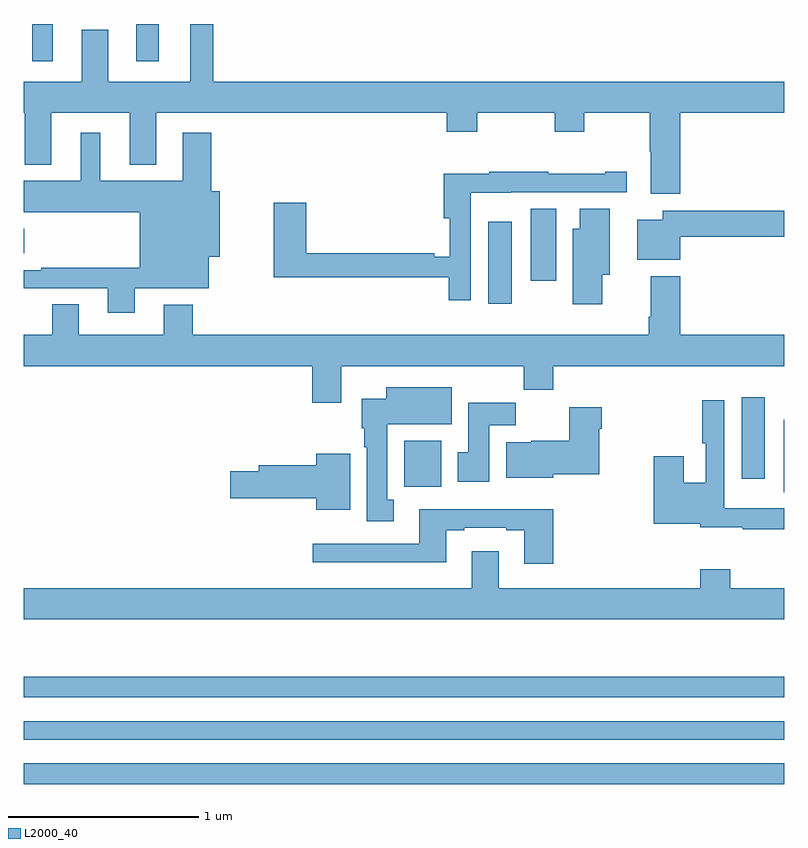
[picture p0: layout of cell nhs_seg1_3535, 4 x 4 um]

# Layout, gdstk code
import gdstk
lib = gdstk.Library(unit=1e-6, precision=1e-09)
def R(c, l, rs):  # rectangles x0, y0, x1, y1
    for r in rs: c.add(gdstk.rectangle(r[:2], r[2:], *l))
def P(c, l, *ps):  # polygons
    for p in ps: c.add(gdstk.Polygon(p, *l))
L2000_40 = (2000, 40)

nhs_seg1_3535 = lib.new_cell('nhs_seg1_3535')
R(nhs_seg1_3535, L2000_40, [(303,548.202,307,548.31), (303,548.436,307,548.532), (303,548.658,307,548.767), (306.998,549.736,307,550.117), (305,549.764,305.197,550.006), (306.776,549.807,306.898,550.237), (305.444,550.728,305.566,551.158), (305.666,550.848,305.8,551.228), (303,550.994,303.004,551.122), (303.044,552.003,303.154,552.199), (303.593,552.003,303.709,552.199)])
P(nhs_seg1_3535, L2000_40, [(303.997,552.199),(303.875,552.199),(303.875,551.896),(303.445,551.896),(303.445,552.169),(303.305,552.169),(303.305,551.896),(303,551.896),(303,551.732),(303.005,551.732),(303.005,551.459),(303.145,551.459),(303.145,551.732),(303.557,551.732),(303.557,551.459),(303.697,551.459),(303.697,551.732),(305.225,551.732),(305.225,551.633),(305.385,551.633),(305.385,551.732),(305.794,551.732),(305.794,551.633),(305.949,551.633),(305.949,551.732),(306.292,551.732),(306.292,551.528),(306.299,551.528),(306.299,551.307),(306.452,551.307),(306.452,551.732),(307,551.732),(307,551.896),(303.997,551.896)],
  [(303.583,550.808),(303.973,550.808),(303.973,550.976),(304.03,550.976),(304.03,551.32),(303.986,551.32),(303.986,551.626),(303.836,551.626),(303.836,551.374),(303.403,551.374),(303.403,551.626),(303.299,551.626),(303.299,551.374),(303,551.374),(303,551.21),(303.611,551.21),(303.611,550.918),(303.091,550.918),(303.091,550.905),(303,550.905),(303,550.809),(303.443,550.809),(303.443,550.68),(303.583,550.68)],
  [(305.352,551.312),(305.562,551.312),(305.562,551.313),(306.172,551.313),(306.172,551.422),(306.059,551.422),(306.059,551.412),(305.759,551.412),(305.759,551.422),(305.449,551.422),(305.449,551.412),(305.21,551.412),(305.21,551.177),(305.24,551.177),(305.24,550.976),(305.159,550.976),(305.159,550.994),(304.487,550.994),(304.487,551.26),(304.316,551.26),(304.316,550.866),(305.236,550.866),(305.236,550.746),(305.352,550.746)],
  [(306.043,550.88),(306.082,550.88),(306.082,551.228),(305.924,551.228),(305.924,551.122),(305.888,551.122),(305.888,550.725),(306.043,550.725)],
  [(306.454,551.08),(307,551.08),(307,551.216),(306.36,551.216),(306.36,551.17),(306.227,551.17),(306.227,550.958),(306.454,550.958)],
  [(307,550.564),(306.452,550.564),(306.452,550.873),(306.299,550.873),(306.299,550.66),(306.287,550.66),(306.287,550.564),(303.89,550.564),(303.89,550.723),(303.737,550.723),(303.737,550.564),(303.289,550.564),(303.289,550.724),(303.149,550.724),(303.149,550.564),(303,550.564),(303,550.4),(304.517,550.4),(304.517,550.206),(304.669,550.206),(304.669,550.4),(305.629,550.4),(305.629,550.276),(305.786,550.276),(305.786,550.4),(307,550.4)],
  [(304.945,549.698),(304.912,549.698),(304.912,550.094),(305.251,550.094),(305.251,550.288),(304.907,550.288),(304.907,550.228),(304.778,550.228),(304.778,550.074),(304.79,550.074),(304.79,549.974),(304.805,549.974),(304.805,549.585),(304.945,549.585)],
  [(307,549.651),(306.894,549.651),(306.894,549.652),(306.684,549.652),(306.684,550.219),(306.568,550.219),(306.568,549.995),(306.588,549.995),(306.588,549.787),(306.472,549.787),(306.472,549.925),(306.314,549.925),(306.314,549.572),(306.558,549.572),(306.558,549.553),(306.781,549.553),(306.781,549.543),(307,549.543)],
  [(305.449,550.088),(305.588,550.088),(305.588,550.206),(305.339,550.206),(305.339,549.948),(305.282,549.948),(305.282,549.792),(305.449,549.792)],
  [(305.784,549.83),(306.028,549.83),(306.028,550.07),(306.041,550.07),(306.041,550.183),(305.87,550.183),(305.87,550.006),(305.67,550.006),(305.67,550),(305.537,550),(305.537,549.812),(305.784,549.812)],
  [(304.717,549.94),(304.538,549.94),(304.538,549.878),(304.235,549.878),(304.235,549.848),(304.086,549.848),(304.086,549.706),(304.538,549.706),(304.538,549.644),(304.717,549.644)],
  [(305.786,549.646),(305.081,549.646),(305.081,549.465),(304.521,549.465),(304.521,549.368),(305.221,549.368),(305.221,549.537),(305.317,549.537),(305.317,549.549),(305.537,549.549),(305.537,549.537),(305.633,549.537),(305.633,549.36),(305.786,549.36)],
  [(307,549.232),(306.717,549.232),(306.717,549.331),(306.557,549.331),(306.557,549.232),(305.497,549.232),(305.497,549.427),(305.357,549.427),(305.357,549.232),(303,549.232),(303,549.068),(307,549.068)])

lib.write_gds('nhs_seg1_3535.gds')
